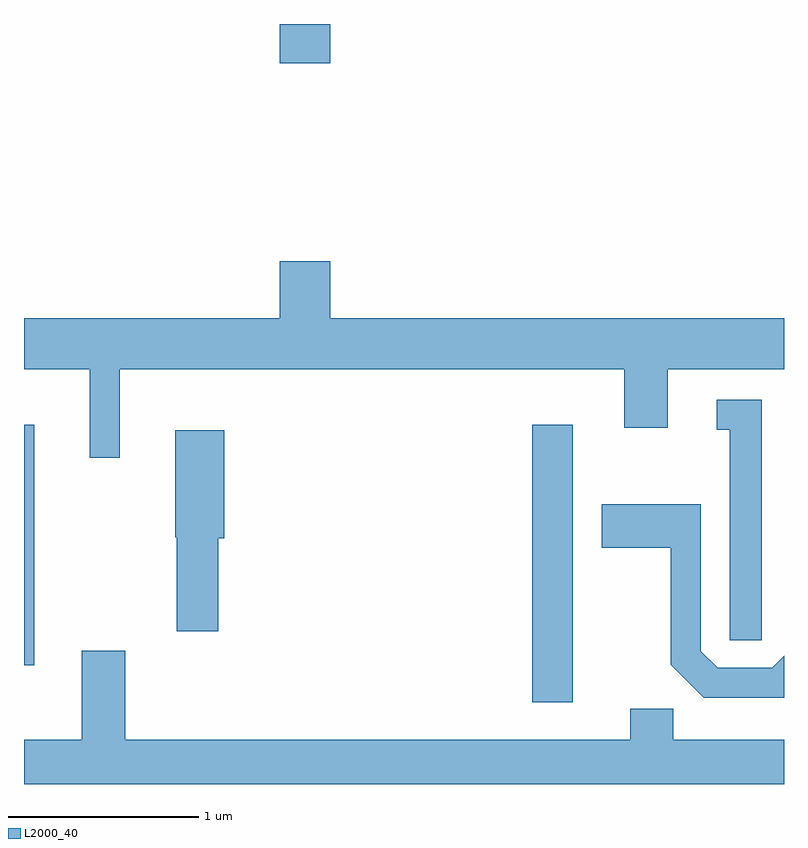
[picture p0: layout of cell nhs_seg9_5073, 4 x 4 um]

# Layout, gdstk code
import gdstk
lib = gdstk.Library(unit=1e-6, precision=1e-09)
def R(c, l, rs):  # rectangles x0, y0, x1, y1
    for r in rs: c.add(gdstk.rectangle(r[:2], r[2:], *l))
def P(c, l, *ps):  # polygons
    for p in ps: c.add(gdstk.Polygon(p, *l))
L2000_40 = (2000, 40)

nhs_seg9_5073 = lib.new_cell('nhs_seg9_5073')
R(nhs_seg9_5073, L2000_40, [(336.286,2078.861,336.499,2080.324), (333.611,2079.058,333.664,2080.324), (334.956,2082.226,335.224,2082.432)])
P(nhs_seg9_5073, L2000_40, [(334.114,2080.616),(336.771,2080.616),(336.771,2080.306),(336.999,2080.306),(336.999,2080.616),(337.611,2080.616),(337.611,2080.884),(335.224,2080.884),(335.224,2081.184),(334.956,2081.184),(334.956,2080.884),(333.611,2080.884),(333.611,2080.616),(333.956,2080.616),(333.956,2080.148),(334.114,2080.148)],
  [(337.494,2080.454),(337.258,2080.454),(337.258,2080.296),(337.326,2080.296),(337.326,2079.188),(337.494,2079.188)],
  [(334.634,2079.726),(334.664,2079.726),(334.664,2080.294),(334.406,2080.294),(334.406,2079.73),(334.416,2079.73),(334.416,2079.236),(334.634,2079.236)],
  [(337.611,2079.107),(337.549,2079.044),(337.262,2079.044),(337.174,2079.132),(337.174,2079.904),(336.651,2079.904),(336.651,2079.676),(337.016,2079.676),(337.016,2079.059),(337.189,2078.886),(337.611,2078.886)],
  [(337.611,2078.664),(337.029,2078.664),(337.029,2078.829),(336.801,2078.829),(336.801,2078.664),(334.144,2078.664),(334.144,2079.134),(333.916,2079.134),(333.916,2078.664),(333.611,2078.664),(333.611,2078.432),(337.611,2078.432)])

lib.write_gds('nhs_seg9_5073.gds')
